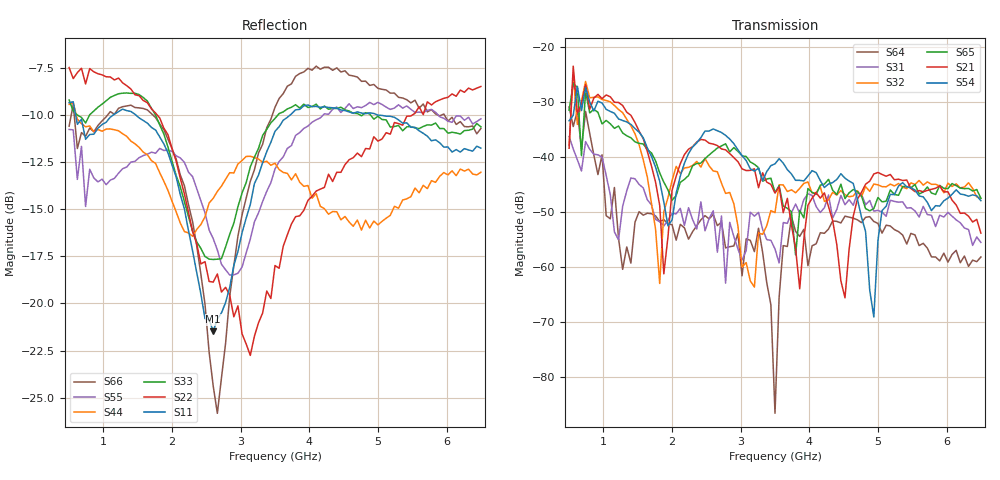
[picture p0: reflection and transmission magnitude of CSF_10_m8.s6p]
!Keysight Technologies,M9804A,MY58100912,A.14.10.03
!Date: Thursday, April 27, 2023 10:28:33
!Correction: S11(C  6-Port  )
!S12(C  6-Port  )
!S13(C  6-Port  )
!S14(C  6-Port  )
!S15(C  6-Port  )
!S16(C  6-Port  )
!S21(C  6-Port  )
!S22(C  6-Port  )
!S23(C  6-Port  )
!S24(C  6-Port  )
!S25(C  6-Port  )
!S26(C  6-Port  )
!S31(C  6-Port  )
!S32(C  6-Port  )
!S33(C  6-Port  )
!S34(C  6-Port  )
!S35(C  6-Port  )
!S36(C  6-Port  )
!S41(C  6-Port  )
!S42(C  6-Port  )
!S43(C  6-Port  )
!S44(C  6-Port  )
!S45(C  6-Port  )
!S46(C  6-Port  )
!S51(C  6-Port  )
!S52(C  6-Port  )
!S53(C  6-Port  )
!S54(C  6-Port  )
!S55(C  6-Port  )
!S56(C  6-Port  )
!S61(C  6-Port  )
!S62(C  6-Port  )
!S63(C  6-Port  )
!S64(C  6-Port  )
!S65(C  6-Port  )
!S66(C  6-Port  )
!S6P File: Measurement: :
# Hz S  RI  R 50
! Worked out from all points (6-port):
!   101 points, 500 MHz to 6.5 GHz, reference 50 ohm
!   strongest paths, dB at 500 MHz, 2 GHz, 3.5 GHz, 5 GHz, 6.5 GHz:
!     S54: -33.5, -51.5, -41.3, -55.2, -47.9
!     S21: -38.4, -46.1, -46.6, -42.8, -53.8
!     S65: -31.5, -47.9, -46.4, -47.4, -47.5
!     S32: -37.9, -44.3, -50.1, -45.1, -47.5
!     S31: -36.3, -50.3, -56.7, -49.7, -55.5
!     S64: -30.9, -52.3, -86.5, -52.1, -58.2
!   lowest |S11| = -21.5 dB at 2.6 GHz (marker M1), VSWR 1.18, Z = 42.5 + j2.34 ohm
!   |S11| at or under -10 dB: 594.3 MHz to 1.149 GHz (554.9 MHz wide, 63.6 % of centre); 1.467 GHz to 3.726 GHz (2.259 GHz wide, 87 % of centre); 4.986 GHz to end of sweep
